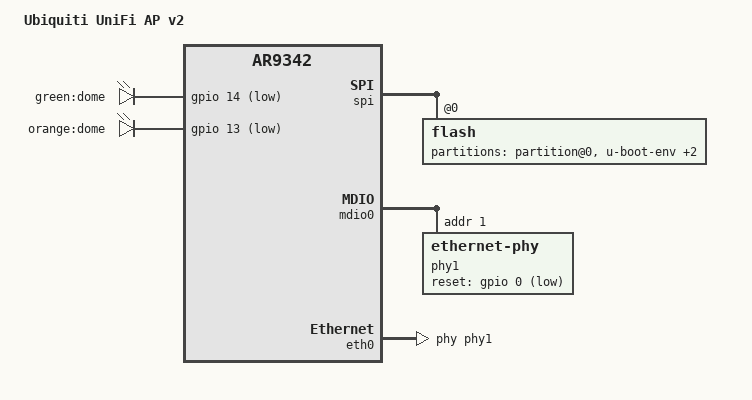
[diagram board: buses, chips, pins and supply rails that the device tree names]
// SPDX-License-Identifier: GPL-2.0-or-later OR MIT

#include "ar9342_ubnt_xw.dtsi"

/ {
	compatible = "ubnt,unifi-ap-v2", "ubnt,xw", "qca,ar9342";
	model = "Ubiquiti UniFi AP v2";

	aliases {
		led-boot = &led_dome_green;
		led-failsafe = &led_dome_orange;
		led-running = &led_dome_green;
		led-upgrade = &led_dome_green;
		label-mac-device = &eth0;
	};

	leds {
		compatible = "gpio-leds";

		led_dome_green: dome_green {
			label = "green:dome";
			gpios = <&gpio 14 GPIO_ACTIVE_LOW>;
		};

		led_dome_orange: dome_orange {
			label = "orange:dome";
			gpios = <&gpio 13 GPIO_ACTIVE_LOW>;
		};
	};
};

&spi {
	flash@0 {
		partitions {
			/delete-node/ partition@40000;
			/delete-node/ partition@50000;

			partition@0 {
				reg = <0x000000 0x060000>;
			};

			partition@60000 {
				label = "u-boot-env";
				reg = <0x060000 0x010000>;
				read-only;
			};

			partition@70000 {
				compatible = "denx,uimage";
				label = "firmware";
				reg = <0x070000 0x730000>;
			};

			partition@7a0000 {
				label = "board_config";
				reg = <0x7a0000 0x010000>;
				read-only;
			};
		};
	};
};

&mdio0 {
	status = "okay";

	phy1: ethernet-phy@1 {
		reg = <1>;
		phy-mode = "mii";
		reset-gpios = <&gpio 0 GPIO_ACTIVE_LOW>;
	};
};

&eth0 {
	status = "okay";

	phy-handle = <&phy1>;
};
